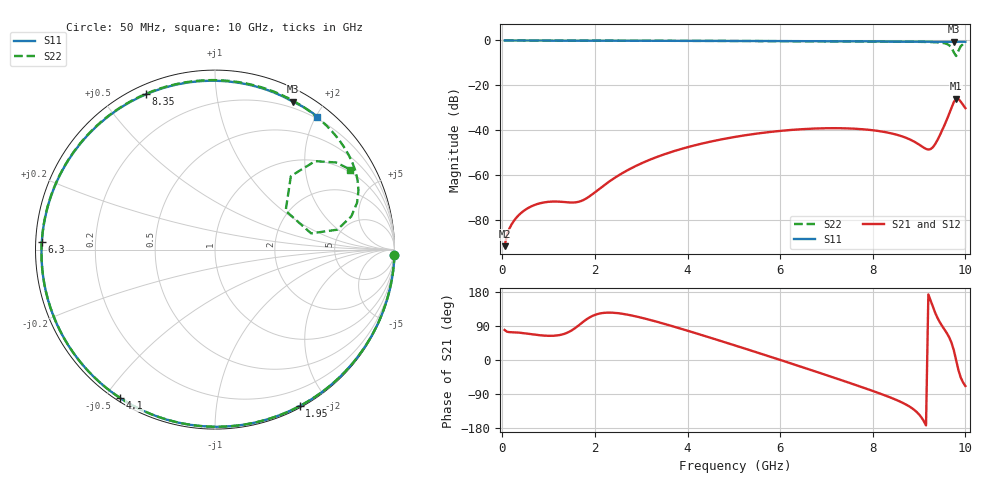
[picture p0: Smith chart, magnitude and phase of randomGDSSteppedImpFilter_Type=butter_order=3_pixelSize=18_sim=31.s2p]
! freq	dB(S11)	phase(S11)	dB(S12)	phase(S12)
!  dB(S21)	phase(S21)	dB(S22)	phase(S22)
!S-par simulation data
#  GHz  S  DB  R 50
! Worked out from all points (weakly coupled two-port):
!   200 points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, 50 MHz to 10 GHz, reference 50 ohm
!   highest |S21| = -25.98 dB at 9.8 GHz (marker M1); lowest = -91.9 dB at 50 MHz (marker M2)
!   lowest |S11| = -0.6 dB at 9.75 GHz (marker M3), VSWR 28.35, Z = 6.57 + j82.3 ohm
!   |S11| at or under -10 dB: nowhere
!   |S22| runs from -7.0 to 0.0 dB; largest |S21 - S12| = 0
!   S11 on the Smith chart (normalised r, x): 50 MHz: 0, -70; 1.95 GHz: 0.02, -1.68; 4.1 GHz: 0.01, -0.55; 6.3 GHz: 0.02, +0.02; 8.35 GHz: 0.04, +0.65; 10 GHz: 0.17, +2.02
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0.05  -0.00 -1.6  -91.91 79.3  -91.91 79.3  -0.00 -1.6
0.25  -0.00 -8.2  -80.61 73.1  -80.61 73.1  -0.01 -8.1
0.8  -0.03 -25.9  -72.82 65.5  -72.82 65.5  -0.03 -25.8
1.75  -0.07 -55.5  -71.30 101.1  -71.30 101.1  -0.07 -55.6
1.95  -0.08 -61.6  -68.64 116.5  -68.64 116.5  -0.08 -61.8
2.65  -0.10 -82.2  -58.60 120.8  -58.60 120.8  -0.11 -83.1
3.4  -0.13 -103.5  -51.59 98.8  -51.59 98.8  -0.14 -105.7
4.1  -0.16 -122.7  -47.14 73.6  -47.14 73.6  -0.17 -126.6
5.05  -0.21 -148.2  -43.01 37.5  -43.01 37.5  -0.23 -155.7
5.7  -0.26 -165.8  -41.09 12.1  -41.09 12.1  -0.28 -176.6
6.3  -0.30 177.6  -39.88 -11.7  -39.88 -11.7  -0.34 163.0
6.7  -0.33 166.1  -39.40 -27.8  -39.40 -27.8  -0.37 148.7
7.6  -0.41 138.8  -39.42 -64.7  -39.42 -64.7  -0.45 113.8
8.35  -0.48 113.9  -41.28 -97.5  -41.28 -97.5  -0.51 82.1
8.8  -0.51 98.0  -44.21 -123.4  -44.21 -123.4  -0.57 62.0
9.25  -0.55 81.3  -48.53 156.5  -48.53 156.5  -0.71 40.5
9.4  -0.57 75.6  -44.38 110.5  -44.38 110.5  -0.86 32.3
9.6  -0.59 68.0  -35.33 70.7  -35.33 70.7  -1.58 18.3
9.75  -0.61 62.3  -27.52 25.9  -27.52 25.9  -5.30 9.6
9.8  -0.60 60.4  -25.98 -0.4  -25.98 -0.4  -6.95 28.8
9.9  -0.58 56.5  -27.36 -46.4  -27.36 -46.4  -2.57 41.5
10  -0.59 52.5  -30.25 -68.7  -30.25 -68.7  -1.15 30.6
